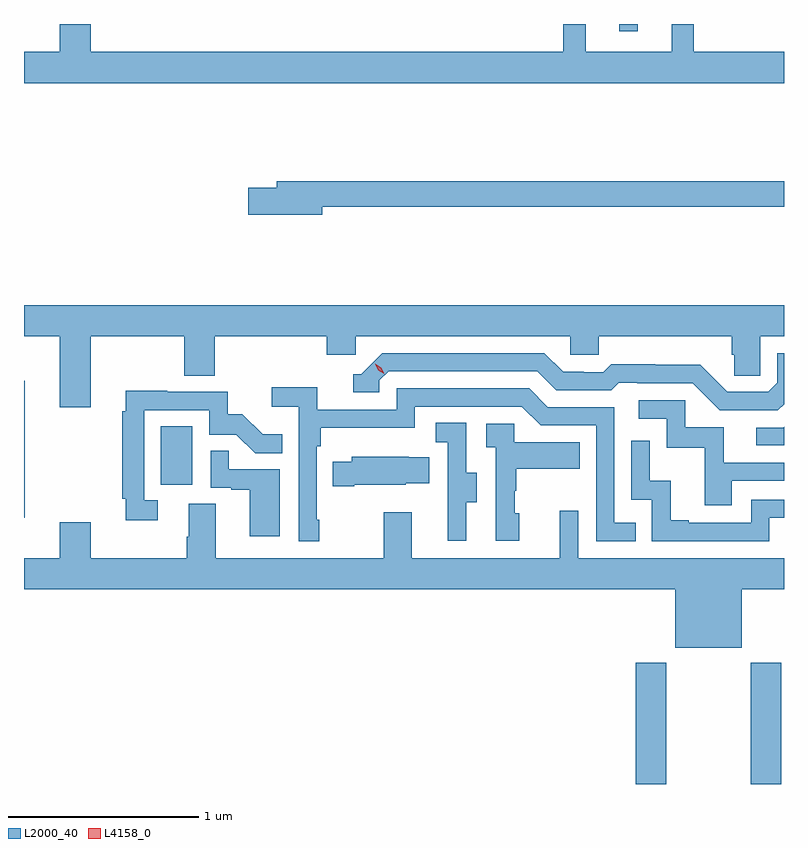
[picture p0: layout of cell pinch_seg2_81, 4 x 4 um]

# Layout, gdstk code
import gdstk
lib = gdstk.Library(unit=1e-6, precision=1e-09)
def R(c, l, rs):  # rectangles x0, y0, x1, y1
    for r in rs: c.add(gdstk.rectangle(r[:2], r[2:], *l))
def P(c, l, *ps):  # polygons
    for p in ps: c.add(gdstk.Polygon(p, *l))
L2000_40 = (2000, 40)
L4158_0 = (4158, 0)

pinch_seg2_81 = lib.new_cell('pinch_seg2_81')
R(pinch_seg2_81, L2000_40, [(1067.141,645.279,1067.301,645.916), (1067.746,645.279,1067.906,645.916), (1063.921,646.68,1063.924,647.401), (1064.642,646.854,1064.806,647.161), (1067.054,649.242,1067.151,649.279)])
P(pinch_seg2_81, L2000_40, [(1067.921,649.132),(1067.447,649.132),(1067.447,649.279),(1067.33,649.279),(1067.33,649.132),(1066.877,649.132),(1066.877,649.279),(1066.759,649.279),(1066.759,649.132),(1064.272,649.132),(1064.272,649.279),(1064.108,649.279),(1064.108,649.132),(1063.921,649.132),(1063.921,648.968),(1067.921,648.968)],
  [(1065.49,648.316),(1067.921,648.316),(1067.921,648.452),(1065.251,648.452),(1065.251,648.416),(1065.102,648.416),(1065.102,648.274),(1065.49,648.274)],
  [(1064.272,647.636),(1064.764,647.636),(1064.764,647.428),(1064.924,647.428),(1064.924,647.636),(1065.515,647.636),(1065.515,647.538),(1065.666,647.538),(1065.666,647.636),(1066.797,647.636),(1066.797,647.538),(1066.947,647.538),(1066.947,647.636),(1067.645,647.636),(1067.645,647.538),(1067.659,647.538),(1067.659,647.428),(1067.796,647.428),(1067.796,647.636),(1067.921,647.636),(1067.921,647.8),(1063.921,647.8),(1063.921,647.636),(1064.108,647.636),(1064.108,647.262),(1064.272,647.262)],
  [(1067.921,647.279),(1067.921,647.547),(1067.886,647.547),(1067.886,647.391),(1067.838,647.343),(1067.622,647.343),(1067.48,647.485),(1067.244,647.485),(1067.244,647.488),(1067.011,647.488),(1066.969,647.445),(1066.866,647.445),(1066.866,647.448),(1066.759,647.448),(1066.66,647.547),(1065.807,647.547),(1065.696,647.436),(1065.653,647.436),(1065.653,647.34),(1065.792,647.34),(1065.792,647.403),(1065.84,647.451),(1066.623,647.451),(1066.722,647.352),(1067.011,647.352),(1067.05,647.391),(1067.149,647.391),(1067.149,647.388),(1067.442,647.388),(1067.583,647.247),(1067.889,647.247)],
  [(1065.475,646.669),(1065.462,646.669),(1065.462,647.057),(1065.482,647.057),(1065.482,647.153),(1065.978,647.153),(1065.978,647.265),(1066.542,647.265),(1066.641,647.166),(1066.932,647.166),(1066.932,646.557),(1067.141,646.557),(1067.141,646.653),(1067.028,646.653),(1067.028,647.262),(1066.678,647.262),(1066.579,647.361),(1065.882,647.361),(1065.882,647.25),(1065.464,647.25),(1065.464,647.366),(1065.225,647.366),(1065.225,647.264),(1065.366,647.264),(1065.366,646.557),(1065.475,646.557)],
  [(1064.626,646.773),(1064.553,646.773),(1064.553,647.247),(1064.895,647.247),(1064.895,647.118),(1065.039,647.118),(1065.137,647.02),(1065.281,647.02),(1065.281,647.119),(1065.177,647.119),(1065.07,647.226),(1064.994,647.226),(1064.994,647.343),(1064.675,647.343),(1064.675,647.348),(1064.456,647.348),(1064.456,647.24),(1064.437,647.24),(1064.437,646.78),(1064.456,646.78),(1064.456,646.668),(1064.626,646.668)],
  [(1067.647,646.875),(1067.921,646.875),(1067.921,646.971),(1067.605,646.971),(1067.605,647.157),(1067.4,647.157),(1067.4,647.298),(1067.157,647.298),(1067.157,647.202),(1067.304,647.202),(1067.304,647.049),(1067.503,647.049),(1067.503,646.746),(1067.647,646.746)],
  [(1066.249,646.762),(1066.303,646.762),(1066.303,646.917),(1066.248,646.917),(1066.248,647.18),(1066.089,647.18),(1066.089,647.077),(1066.152,647.077),(1066.152,646.773),(1066.151,646.773),(1066.151,646.56),(1066.249,646.56)],
  [(1066.528,646.704),(1066.503,646.704),(1066.503,646.823),(1066.513,646.823),(1066.513,646.937),(1066.847,646.937),(1066.847,647.077),(1066.5,647.077),(1066.5,647.175),(1066.353,647.175),(1066.353,647.051),(1066.404,647.051),(1066.404,646.56),(1066.528,646.56)],
  [(1067.921,647.159),(1067.916,647.154),(1067.775,647.154),(1067.775,647.061),(1067.921,647.061)],
  [(1067.844,646.68),(1067.921,646.68),(1067.921,646.776),(1067.748,646.776),(1067.748,646.653),(1067.419,646.653),(1067.419,646.666),(1067.324,646.666),(1067.324,646.874),(1067.214,646.874),(1067.214,647.086),(1067.118,647.086),(1067.118,646.776),(1067.226,646.776),(1067.226,646.557),(1067.844,646.557)],
  [(1065.268,646.935),(1064.999,646.935),(1064.999,647.033),(1064.904,647.033),(1064.904,646.839),(1065.011,646.839),(1065.011,646.827),(1065.11,646.827),(1065.11,646.584),(1065.268,646.584)],
  [(1065.658,646.853),(1065.93,646.853),(1065.93,646.862),(1066.055,646.862),(1066.055,646.999),(1065.947,646.999),(1065.947,647.002),(1065.645,647.002),(1065.645,646.975),(1065.547,646.975),(1065.547,646.846),(1065.658,646.846)],
  [(1067.698,646.304),(1067.921,646.304),(1067.921,646.468),(1066.839,646.468),(1066.839,646.717),(1066.742,646.717),(1066.742,646.468),(1065.961,646.468),(1065.961,646.708),(1065.814,646.708),(1065.814,646.468),(1064.929,646.468),(1064.929,646.754),(1064.789,646.754),(1064.789,646.58),(1064.777,646.58),(1064.777,646.468),(1064.272,646.468),(1064.272,646.657),(1064.108,646.657),(1064.108,646.468),(1063.921,646.468),(1063.921,646.304),(1067.348,646.304),(1067.348,645.995),(1067.698,645.995)])
P(pinch_seg2_81, L4158_0, [(1065.817,647.438),(1065.786,647.457),(1065.769,647.489),(1065.769,647.49),(1065.77,647.49),(1065.8,647.47),(1065.817,647.438),(1065.817,647.438)])

lib.write_gds('pinch_seg2_81.gds')
